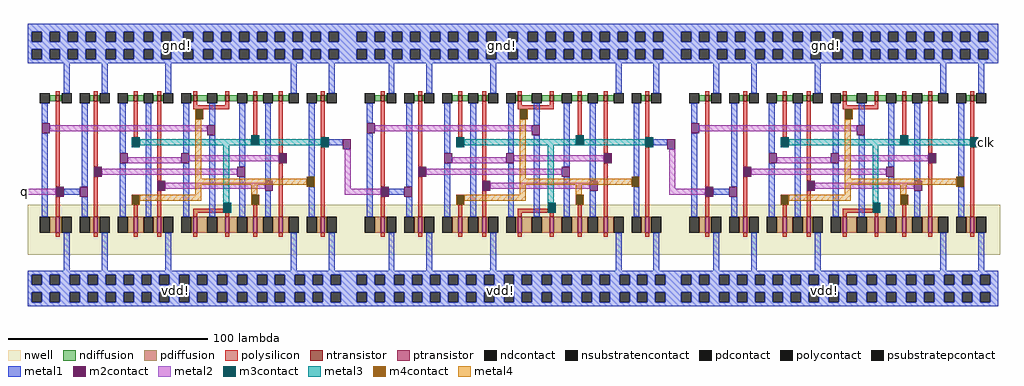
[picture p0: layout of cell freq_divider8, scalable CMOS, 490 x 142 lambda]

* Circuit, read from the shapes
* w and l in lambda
.subckt freq_divider8 clk gnd! q vdd!
M1 gnd! q n1 gnd! nfet w=3 l=2
M2 gnd! n2 q gnd! nfet w=3 l=2
M3 n3 n4 n5 gnd! nfet w=3 l=2
M4 gnd! n6 n3 gnd! nfet w=3 l=2
M5 n1 n7 n5 gnd! nfet w=3 l=2
M6 n2 n7 n1 gnd! nfet w=3 l=2
M7 n6 n4 n2 gnd! nfet w=3 l=2
M8 gnd! n5 n6 gnd! nfet w=3 l=2
M9 gnd! n4 n7 gnd! nfet w=3 l=2
M10 gnd! n4 n8 gnd! nfet w=3 l=2
M11 gnd! n9 n4 gnd! nfet w=3 l=2
M12 n10 n11 n12 gnd! nfet w=3 l=2
M13 gnd! n13 n10 gnd! nfet w=3 l=2
M14 n8 n14 n12 gnd! nfet w=3 l=2
M15 n9 n14 n8 gnd! nfet w=3 l=2
M16 n13 n11 n9 gnd! nfet w=3 l=2
M17 gnd! n12 n13 gnd! nfet w=3 l=2
M18 gnd! n11 n14 gnd! nfet w=3 l=2
M19 gnd! n11 n15 gnd! nfet w=3 l=2
M20 gnd! n16 n11 gnd! nfet w=3 l=2
M21 n17 clk n18 gnd! nfet w=3 l=2
M22 gnd! n19 n17 gnd! nfet w=3 l=2
M23 n15 n20 n18 gnd! nfet w=3 l=2
M24 n16 n20 n15 gnd! nfet w=3 l=2
M25 n19 clk n16 gnd! nfet w=3 l=2
M26 gnd! n18 n19 gnd! nfet w=3 l=2
M27 gnd! clk n20 gnd! nfet w=3 l=2
M28 vdd! q n1 n21 pfet w=8 l=2
M29 vdd! n2 q n21 pfet w=8 l=2
M30 n3 n7 n5 n21 pfet w=8 l=2
M31 vdd! n6 n3 n21 pfet w=8 l=2
M32 n1 n4 n5 n21 pfet w=8 l=2
M33 n2 n4 n1 n21 pfet w=8 l=2
M34 n6 n7 n2 n21 pfet w=8 l=2
M35 vdd! n5 n6 n21 pfet w=8 l=2
M36 vdd! n4 n7 n21 pfet w=8 l=2
M37 vdd! n4 n8 n21 pfet w=8 l=2
M38 vdd! n9 n4 n21 pfet w=8 l=2
M39 n10 n14 n12 n21 pfet w=8 l=2
M40 vdd! n13 n10 n21 pfet w=8 l=2
M41 n8 n11 n12 n21 pfet w=8 l=2
M42 n9 n11 n8 n21 pfet w=8 l=2
M43 n13 n14 n9 n21 pfet w=8 l=2
M44 vdd! n12 n13 n21 pfet w=8 l=2
M45 vdd! n11 n14 n21 pfet w=8 l=2
M46 vdd! n11 n15 n21 pfet w=8 l=2
M47 vdd! n16 n11 n21 pfet w=8 l=2
M48 n17 n20 n18 n21 pfet w=8 l=2
M49 vdd! n19 n17 n21 pfet w=8 l=2
M50 n15 clk n18 n21 pfet w=8 l=2
M51 n16 clk n15 n21 pfet w=8 l=2
M52 n19 n20 n16 n21 pfet w=8 l=2
M53 vdd! n18 n19 n21 pfet w=8 l=2
M54 vdd! clk n20 n21 pfet w=8 l=2
.ends

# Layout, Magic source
magic
tech scmos
<< nwell >>
rect -4 -27 484 -2
<< ntransistor >>
rect 10 50 12 53
rect 29 50 31 53
rect 49 50 51 53
rect 61 50 63 53
rect 79 50 81 53
rect 95 50 97 53
rect 109 50 111 53
rect 122 50 124 53
rect 143 50 145 53
rect 173 50 175 53
rect 192 50 194 53
rect 212 50 214 53
rect 224 50 226 53
rect 242 50 244 53
rect 258 50 260 53
rect 272 50 274 53
rect 285 50 287 53
rect 306 50 308 53
rect 336 50 338 53
rect 355 50 357 53
rect 375 50 377 53
rect 387 50 389 53
rect 405 50 407 53
rect 421 50 423 53
rect 435 50 437 53
rect 448 50 450 53
rect 469 50 471 53
<< ptransistor >>
rect 10 -16 12 -8
rect 29 -16 31 -8
rect 49 -16 51 -8
rect 61 -16 63 -8
rect 79 -16 81 -8
rect 95 -16 97 -8
rect 109 -16 111 -8
rect 122 -16 124 -8
rect 143 -16 145 -8
rect 173 -16 175 -8
rect 192 -16 194 -8
rect 212 -16 214 -8
rect 224 -16 226 -8
rect 242 -16 244 -8
rect 258 -16 260 -8
rect 272 -16 274 -8
rect 285 -16 287 -8
rect 306 -16 308 -8
rect 336 -16 338 -8
rect 355 -16 357 -8
rect 375 -16 377 -8
rect 387 -16 389 -8
rect 405 -16 407 -8
rect 421 -16 423 -8
rect 435 -16 437 -8
rect 448 -16 450 -8
rect 469 -16 471 -8
<< ndiffusion >>
rect 7 50 10 53
rect 12 50 13 53
rect 27 50 29 53
rect 31 50 32 53
rect 46 50 49 53
rect 51 50 54 53
rect 59 50 61 53
rect 63 50 64 53
rect 78 50 79 53
rect 81 50 86 53
rect 91 50 95 53
rect 97 50 101 53
rect 106 50 109 53
rect 111 50 114 53
rect 119 50 122 53
rect 124 50 127 53
rect 141 50 143 53
rect 145 50 146 53
rect 170 50 173 53
rect 175 50 176 53
rect 190 50 192 53
rect 194 50 195 53
rect 209 50 212 53
rect 214 50 217 53
rect 222 50 224 53
rect 226 50 227 53
rect 241 50 242 53
rect 244 50 249 53
rect 254 50 258 53
rect 260 50 264 53
rect 269 50 272 53
rect 274 50 277 53
rect 282 50 285 53
rect 287 50 290 53
rect 304 50 306 53
rect 308 50 309 53
rect 333 50 336 53
rect 338 50 339 53
rect 353 50 355 53
rect 357 50 358 53
rect 372 50 375 53
rect 377 50 380 53
rect 385 50 387 53
rect 389 50 390 53
rect 404 50 405 53
rect 407 50 412 53
rect 417 50 421 53
rect 423 50 427 53
rect 432 50 435 53
rect 437 50 440 53
rect 445 50 448 53
rect 450 50 453 53
rect 467 50 469 53
rect 471 50 472 53
<< pdiffusion >>
rect 7 -16 10 -8
rect 12 -16 13 -8
rect 27 -16 29 -8
rect 31 -16 32 -8
rect 46 -16 49 -8
rect 51 -16 54 -8
rect 59 -16 61 -8
rect 63 -16 64 -8
rect 78 -16 79 -8
rect 81 -16 86 -8
rect 91 -16 95 -8
rect 97 -16 101 -8
rect 106 -16 109 -8
rect 111 -16 114 -8
rect 119 -16 122 -8
rect 124 -16 127 -8
rect 141 -16 143 -8
rect 145 -16 146 -8
rect 170 -16 173 -8
rect 175 -16 176 -8
rect 190 -16 192 -8
rect 194 -16 195 -8
rect 209 -16 212 -8
rect 214 -16 217 -8
rect 222 -16 224 -8
rect 226 -16 227 -8
rect 241 -16 242 -8
rect 244 -16 249 -8
rect 254 -16 258 -8
rect 260 -16 264 -8
rect 269 -16 272 -8
rect 274 -16 277 -8
rect 282 -16 285 -8
rect 287 -16 290 -8
rect 304 -16 306 -8
rect 308 -16 309 -8
rect 333 -16 336 -8
rect 338 -16 339 -8
rect 353 -16 355 -8
rect 357 -16 358 -8
rect 372 -16 375 -8
rect 377 -16 380 -8
rect 385 -16 387 -8
rect 389 -16 390 -8
rect 404 -16 405 -8
rect 407 -16 412 -8
rect 417 -16 421 -8
rect 423 -16 427 -8
rect 432 -16 435 -8
rect 437 -16 440 -8
rect 445 -16 448 -8
rect 450 -16 453 -8
rect 467 -16 469 -8
rect 471 -16 472 -8
<< ndcontact >>
rect 2 49 7 54
rect 13 49 18 54
rect 22 49 27 54
rect 32 49 37 54
rect 41 49 46 54
rect 54 49 59 54
rect 64 49 69 54
rect 73 49 78 54
rect 86 49 91 54
rect 101 49 106 54
rect 114 49 119 54
rect 127 49 132 54
rect 136 49 141 54
rect 146 49 151 54
rect 165 49 170 54
rect 176 49 181 54
rect 185 49 190 54
rect 195 49 200 54
rect 204 49 209 54
rect 217 49 222 54
rect 227 49 232 54
rect 236 49 241 54
rect 249 49 254 54
rect 264 49 269 54
rect 277 49 282 54
rect 290 49 295 54
rect 299 49 304 54
rect 309 49 314 54
rect 328 49 333 54
rect 339 49 344 54
rect 348 49 353 54
rect 358 49 363 54
rect 367 49 372 54
rect 380 49 385 54
rect 390 49 395 54
rect 399 49 404 54
rect 412 49 417 54
rect 427 49 432 54
rect 440 49 445 54
rect 453 49 458 54
rect 462 49 467 54
rect 472 49 477 54
<< pdcontact >>
rect 2 -16 7 -8
rect 13 -16 18 -8
rect 22 -16 27 -8
rect 32 -16 37 -8
rect 41 -16 46 -8
rect 54 -16 59 -8
rect 64 -16 69 -8
rect 73 -16 78 -8
rect 86 -16 91 -8
rect 101 -16 106 -8
rect 114 -16 119 -8
rect 127 -16 132 -8
rect 136 -16 141 -8
rect 146 -16 151 -8
rect 165 -16 170 -8
rect 176 -16 181 -8
rect 185 -16 190 -8
rect 195 -16 200 -8
rect 204 -16 209 -8
rect 217 -16 222 -8
rect 227 -16 232 -8
rect 236 -16 241 -8
rect 249 -16 254 -8
rect 264 -16 269 -8
rect 277 -16 282 -8
rect 290 -16 295 -8
rect 299 -16 304 -8
rect 309 -16 314 -8
rect 328 -16 333 -8
rect 339 -16 344 -8
rect 348 -16 353 -8
rect 358 -16 363 -8
rect 367 -16 372 -8
rect 380 -16 385 -8
rect 390 -16 395 -8
rect 399 -16 404 -8
rect 412 -16 417 -8
rect 427 -16 432 -8
rect 440 -16 445 -8
rect 453 -16 458 -8
rect 462 -16 467 -8
rect 472 -16 477 -8
<< psubstratepcontact >>
rect -2 80 3 85
rect 7 80 12 85
rect 16 80 21 85
rect 25 80 30 85
rect 35 80 40 85
rect 44 80 49 85
rect 54 80 59 85
rect 63 80 68 85
rect 74 80 79 85
rect 84 80 89 85
rect 93 80 98 85
rect 102 80 107 85
rect 111 80 116 85
rect 120 80 125 85
rect 129 80 134 85
rect 138 80 143 85
rect 147 80 152 85
rect 161 80 166 85
rect 170 80 175 85
rect 179 80 184 85
rect 188 80 193 85
rect 198 80 203 85
rect 207 80 212 85
rect 217 80 222 85
rect 226 80 231 85
rect 237 80 242 85
rect 247 80 252 85
rect 256 80 261 85
rect 265 80 270 85
rect 274 80 279 85
rect 283 80 288 85
rect 292 80 297 85
rect 301 80 306 85
rect 310 80 315 85
rect 324 80 329 85
rect 333 80 338 85
rect 342 80 347 85
rect 351 80 356 85
rect 361 80 366 85
rect 370 80 375 85
rect 380 80 385 85
rect 389 80 394 85
rect 400 80 405 85
rect 410 80 415 85
rect 419 80 424 85
rect 428 80 433 85
rect 437 80 442 85
rect 446 80 451 85
rect 455 80 460 85
rect 464 80 469 85
rect 473 80 478 85
rect -2 71 3 76
rect 7 71 12 76
rect 16 71 21 76
rect 25 71 30 76
rect 35 71 40 76
rect 44 71 49 76
rect 54 71 59 76
rect 63 71 68 76
rect 74 71 79 76
rect 84 71 89 76
rect 93 71 98 76
rect 102 71 107 76
rect 111 71 116 76
rect 120 71 125 76
rect 129 71 134 76
rect 138 71 143 76
rect 147 71 152 76
rect 161 71 166 76
rect 170 71 175 76
rect 179 71 184 76
rect 188 71 193 76
rect 198 71 203 76
rect 207 71 212 76
rect 217 71 222 76
rect 226 71 231 76
rect 237 71 242 76
rect 247 71 252 76
rect 256 71 261 76
rect 265 71 270 76
rect 274 71 279 76
rect 283 71 288 76
rect 292 71 297 76
rect 301 71 306 76
rect 310 71 315 76
rect 324 71 329 76
rect 333 71 338 76
rect 342 71 347 76
rect 351 71 356 76
rect 361 71 366 76
rect 370 71 375 76
rect 380 71 385 76
rect 389 71 394 76
rect 400 71 405 76
rect 410 71 415 76
rect 419 71 424 76
rect 428 71 433 76
rect 437 71 442 76
rect 446 71 451 76
rect 455 71 460 76
rect 464 71 469 76
rect 473 71 478 76
<< nsubstratencontact >>
rect -2 -42 3 -37
rect 7 -42 12 -37
rect 17 -42 22 -37
rect 26 -42 31 -37
rect 35 -42 40 -37
rect 44 -42 49 -37
rect 53 -42 58 -37
rect 62 -42 67 -37
rect 72 -42 77 -37
rect 81 -42 86 -37
rect 91 -42 96 -37
rect 101 -42 106 -37
rect 111 -42 116 -37
rect 120 -42 125 -37
rect 130 -42 135 -37
rect 139 -42 144 -37
rect 148 -42 153 -37
rect 161 -42 166 -37
rect 170 -42 175 -37
rect 180 -42 185 -37
rect 189 -42 194 -37
rect 198 -42 203 -37
rect 207 -42 212 -37
rect 216 -42 221 -37
rect 225 -42 230 -37
rect 235 -42 240 -37
rect 244 -42 249 -37
rect 254 -42 259 -37
rect 264 -42 269 -37
rect 274 -42 279 -37
rect 283 -42 288 -37
rect 293 -42 298 -37
rect 302 -42 307 -37
rect 311 -42 316 -37
rect 324 -42 329 -37
rect 333 -42 338 -37
rect 343 -42 348 -37
rect 352 -42 357 -37
rect 361 -42 366 -37
rect 370 -42 375 -37
rect 379 -42 384 -37
rect 388 -42 393 -37
rect 398 -42 403 -37
rect 407 -42 412 -37
rect 417 -42 422 -37
rect 427 -42 432 -37
rect 437 -42 442 -37
rect 446 -42 451 -37
rect 456 -42 461 -37
rect 465 -42 470 -37
rect 474 -42 479 -37
rect -2 -51 3 -46
rect 7 -51 12 -46
rect 17 -51 22 -46
rect 26 -51 31 -46
rect 35 -51 40 -46
rect 44 -51 49 -46
rect 53 -51 58 -46
rect 62 -51 67 -46
rect 72 -51 77 -46
rect 81 -51 86 -46
rect 91 -51 96 -46
rect 101 -51 106 -46
rect 111 -51 116 -46
rect 120 -51 125 -46
rect 130 -51 135 -46
rect 139 -51 144 -46
rect 148 -51 153 -46
rect 161 -51 166 -46
rect 170 -51 175 -46
rect 180 -51 185 -46
rect 189 -51 194 -46
rect 198 -51 203 -46
rect 207 -51 212 -46
rect 216 -51 221 -46
rect 225 -51 230 -46
rect 235 -51 240 -46
rect 244 -51 249 -46
rect 254 -51 259 -46
rect 264 -51 269 -46
rect 274 -51 279 -46
rect 283 -51 288 -46
rect 293 -51 298 -46
rect 302 -51 307 -46
rect 311 -51 316 -46
rect 324 -51 329 -46
rect 333 -51 338 -46
rect 343 -51 348 -46
rect 352 -51 357 -46
rect 361 -51 366 -46
rect 370 -51 375 -46
rect 379 -51 384 -46
rect 388 -51 393 -46
rect 398 -51 403 -46
rect 407 -51 412 -46
rect 417 -51 422 -46
rect 427 -51 432 -46
rect 437 -51 442 -46
rect 446 -51 451 -46
rect 456 -51 461 -46
rect 465 -51 470 -46
rect 474 -51 479 -46
<< polysilicon >>
rect 10 53 12 55
rect 10 7 12 50
rect 29 53 31 55
rect 29 17 31 50
rect 49 53 51 55
rect 49 32 51 50
rect 61 53 63 55
rect 10 -8 12 2
rect 29 -8 31 12
rect 61 10 63 50
rect 79 53 81 55
rect 79 48 81 50
rect 95 53 97 55
rect 95 48 97 50
rect 109 53 111 55
rect 79 46 97 48
rect 109 33 111 50
rect 122 53 124 55
rect 122 24 124 50
rect 143 53 145 55
rect 143 32 145 50
rect 173 53 175 55
rect 49 -8 51 -2
rect 61 -8 63 5
rect 79 -6 94 -4
rect 79 -8 81 -6
rect 95 -8 97 -6
rect 109 -8 111 -2
rect 122 -8 124 19
rect 143 -8 145 27
rect 173 7 175 50
rect 192 53 194 55
rect 192 17 194 50
rect 212 53 214 55
rect 212 32 214 50
rect 224 53 226 55
rect 173 -8 175 2
rect 192 -8 194 12
rect 224 10 226 50
rect 242 53 244 55
rect 242 48 244 50
rect 258 53 260 55
rect 258 48 260 50
rect 272 53 274 55
rect 242 46 260 48
rect 272 33 274 50
rect 285 53 287 55
rect 285 24 287 50
rect 306 53 308 55
rect 306 32 308 50
rect 336 53 338 55
rect 212 -8 214 -2
rect 224 -8 226 5
rect 242 -6 257 -4
rect 242 -8 244 -6
rect 258 -8 260 -6
rect 272 -8 274 -2
rect 285 -8 287 19
rect 306 -8 308 27
rect 336 7 338 50
rect 355 53 357 55
rect 355 17 357 50
rect 375 53 377 55
rect 375 32 377 50
rect 387 53 389 55
rect 336 -8 338 2
rect 355 -8 357 12
rect 387 10 389 50
rect 405 53 407 55
rect 405 48 407 50
rect 421 53 423 55
rect 421 48 423 50
rect 435 53 437 55
rect 405 46 423 48
rect 435 33 437 50
rect 448 53 450 55
rect 448 24 450 50
rect 469 53 471 55
rect 469 32 471 50
rect 375 -8 377 -2
rect 387 -8 389 5
rect 405 -6 420 -4
rect 405 -8 407 -6
rect 421 -8 423 -6
rect 435 -8 437 -2
rect 448 -8 450 19
rect 469 -8 471 27
rect 10 -18 12 -16
rect 29 -18 31 -16
rect 49 -18 51 -16
rect 61 -18 63 -16
rect 79 -18 81 -16
rect 95 -18 97 -16
rect 109 -18 111 -16
rect 122 -18 124 -16
rect 143 -18 145 -16
rect 173 -18 175 -16
rect 192 -18 194 -16
rect 212 -18 214 -16
rect 224 -18 226 -16
rect 242 -18 244 -16
rect 258 -18 260 -16
rect 272 -18 274 -16
rect 285 -18 287 -16
rect 306 -18 308 -16
rect 336 -18 338 -16
rect 355 -18 357 -16
rect 375 -18 377 -16
rect 387 -18 389 -16
rect 405 -18 407 -16
rect 421 -18 423 -16
rect 435 -18 437 -16
rect 448 -18 450 -16
rect 469 -18 471 -16
<< polycontact >>
rect 48 27 52 32
rect 29 12 33 17
rect 10 2 14 7
rect 80 41 84 46
rect 108 28 112 33
rect 143 27 147 32
rect 122 19 126 24
rect 61 5 65 10
rect 48 -2 52 3
rect 94 -6 98 -1
rect 108 -2 112 3
rect 211 27 215 32
rect 192 12 196 17
rect 173 2 177 7
rect 243 41 247 46
rect 271 28 275 33
rect 306 27 310 32
rect 285 19 289 24
rect 224 5 228 10
rect 211 -2 215 3
rect 257 -6 261 -1
rect 271 -2 275 3
rect 374 27 378 32
rect 355 12 359 17
rect 336 2 340 7
rect 406 41 410 46
rect 434 28 438 33
rect 469 27 473 32
rect 448 19 452 24
rect 387 5 391 10
rect 374 -2 378 3
rect 420 -6 424 -1
rect 434 -2 438 3
<< metal1 >>
rect -4 85 483 89
rect -4 80 -2 85
rect 3 80 7 85
rect 12 80 16 85
rect 21 80 25 85
rect 30 80 35 85
rect 40 80 44 85
rect 49 80 54 85
rect 59 80 63 85
rect 68 80 74 85
rect 79 80 84 85
rect 89 80 93 85
rect 98 80 102 85
rect 107 80 111 85
rect 116 80 120 85
rect 125 80 129 85
rect 134 80 138 85
rect 143 80 147 85
rect 152 80 161 85
rect 166 80 170 85
rect 175 80 179 85
rect 184 80 188 85
rect 193 80 198 85
rect 203 80 207 85
rect 212 80 217 85
rect 222 80 226 85
rect 231 80 237 85
rect 242 80 247 85
rect 252 80 256 85
rect 261 80 265 85
rect 270 80 274 85
rect 279 80 283 85
rect 288 80 292 85
rect 297 80 301 85
rect 306 80 310 85
rect 315 80 324 85
rect 329 80 333 85
rect 338 80 342 85
rect 347 80 351 85
rect 356 80 361 85
rect 366 80 370 85
rect 375 80 380 85
rect 385 80 389 85
rect 394 80 400 85
rect 405 80 410 85
rect 415 80 419 85
rect 424 80 428 85
rect 433 80 437 85
rect 442 80 446 85
rect 451 80 455 85
rect 460 80 464 85
rect 469 80 473 85
rect 478 80 483 85
rect -4 76 483 80
rect -4 71 -2 76
rect 3 71 7 76
rect 12 71 16 76
rect 21 71 25 76
rect 30 71 35 76
rect 40 71 44 76
rect 49 71 54 76
rect 59 71 63 76
rect 68 71 74 76
rect 79 71 84 76
rect 89 71 93 76
rect 98 71 102 76
rect 107 71 111 76
rect 116 71 120 76
rect 125 71 129 76
rect 134 71 138 76
rect 143 71 147 76
rect 152 71 161 76
rect 166 71 170 76
rect 175 71 179 76
rect 184 71 188 76
rect 193 71 198 76
rect 203 71 207 76
rect 212 71 217 76
rect 222 71 226 76
rect 231 71 237 76
rect 242 71 247 76
rect 252 71 256 76
rect 261 71 265 76
rect 270 71 274 76
rect 279 71 283 76
rect 288 71 292 76
rect 297 71 301 76
rect 306 71 310 76
rect 315 71 324 76
rect 329 71 333 76
rect 338 71 342 76
rect 347 71 351 76
rect 356 71 361 76
rect 366 71 370 76
rect 375 71 380 76
rect 385 71 389 76
rect 394 71 400 76
rect 405 71 410 76
rect 415 71 419 76
rect 424 71 428 76
rect 433 71 437 76
rect 442 71 446 76
rect 451 71 455 76
rect 460 71 464 76
rect 469 71 473 76
rect 478 71 483 76
rect -4 69 483 71
rect 14 54 17 69
rect 33 54 36 69
rect 65 54 68 69
rect 128 54 131 69
rect 147 54 150 69
rect 177 54 180 69
rect 196 54 199 69
rect 228 54 231 69
rect 291 54 294 69
rect 310 54 313 69
rect 340 54 343 69
rect 359 54 362 69
rect 391 54 394 69
rect 454 54 457 69
rect 473 54 476 69
rect 3 39 6 49
rect 3 -8 6 34
rect 23 7 26 49
rect 42 24 45 49
rect 14 3 22 6
rect 23 -8 26 2
rect 42 -8 45 19
rect 55 -8 58 49
rect 74 24 77 49
rect 87 38 90 49
rect 74 -8 77 19
rect 87 -8 90 33
rect 102 17 105 49
rect 102 -8 105 12
rect 115 10 118 49
rect 137 12 140 49
rect 166 39 169 49
rect 147 28 154 31
rect 115 -8 118 5
rect 137 -8 140 7
rect 166 -8 169 34
rect 186 7 189 49
rect 205 24 208 49
rect 177 3 185 6
rect 186 -8 189 2
rect 205 -8 208 19
rect 218 -8 221 49
rect 237 24 240 49
rect 250 38 253 49
rect 237 -8 240 19
rect 250 -8 253 33
rect 265 17 268 49
rect 265 -8 268 12
rect 278 10 281 49
rect 300 12 303 49
rect 329 39 332 49
rect 310 28 317 31
rect 278 -8 281 5
rect 300 -8 303 7
rect 329 -8 332 34
rect 349 7 352 49
rect 368 24 371 49
rect 340 3 348 6
rect 349 -8 352 2
rect 368 -8 371 19
rect 381 -8 384 49
rect 400 24 403 49
rect 413 38 416 49
rect 400 -8 403 19
rect 413 -8 416 33
rect 428 17 431 49
rect 428 -8 431 12
rect 441 10 444 49
rect 463 12 466 49
rect 473 28 477 31
rect 441 -8 444 5
rect 463 -8 466 7
rect 14 -35 17 -16
rect 33 -35 36 -16
rect 65 -35 68 -16
rect 128 -35 131 -16
rect 147 -35 150 -16
rect 177 -35 180 -16
rect 196 -35 199 -16
rect 228 -35 231 -16
rect 291 -35 294 -16
rect 310 -35 313 -16
rect 340 -35 343 -16
rect 359 -35 362 -16
rect 391 -35 394 -16
rect 454 -35 457 -16
rect 473 -35 476 -16
rect -4 -37 483 -35
rect -4 -42 -2 -37
rect 3 -42 7 -37
rect 12 -42 17 -37
rect 22 -42 26 -37
rect 31 -42 35 -37
rect 40 -42 44 -37
rect 49 -42 53 -37
rect 58 -42 62 -37
rect 67 -42 72 -37
rect 77 -42 81 -37
rect 86 -42 91 -37
rect 96 -42 101 -37
rect 106 -42 111 -37
rect 116 -42 120 -37
rect 125 -42 130 -37
rect 135 -42 139 -37
rect 144 -42 148 -37
rect 153 -42 161 -37
rect 166 -42 170 -37
rect 175 -42 180 -37
rect 185 -42 189 -37
rect 194 -42 198 -37
rect 203 -42 207 -37
rect 212 -42 216 -37
rect 221 -42 225 -37
rect 230 -42 235 -37
rect 240 -42 244 -37
rect 249 -42 254 -37
rect 259 -42 264 -37
rect 269 -42 274 -37
rect 279 -42 283 -37
rect 288 -42 293 -37
rect 298 -42 302 -37
rect 307 -42 311 -37
rect 316 -42 324 -37
rect 329 -42 333 -37
rect 338 -42 343 -37
rect 348 -42 352 -37
rect 357 -42 361 -37
rect 366 -42 370 -37
rect 375 -42 379 -37
rect 384 -42 388 -37
rect 393 -42 398 -37
rect 403 -42 407 -37
rect 412 -42 417 -37
rect 422 -42 427 -37
rect 432 -42 437 -37
rect 442 -42 446 -37
rect 451 -42 456 -37
rect 461 -42 465 -37
rect 470 -42 474 -37
rect 479 -42 483 -37
rect -4 -46 483 -42
rect -4 -51 -2 -46
rect 3 -51 7 -46
rect 12 -51 17 -46
rect 22 -51 26 -46
rect 31 -51 35 -46
rect 40 -51 44 -46
rect 49 -51 53 -46
rect 58 -51 62 -46
rect 67 -51 72 -46
rect 77 -51 81 -46
rect 86 -51 91 -46
rect 96 -51 101 -46
rect 106 -51 111 -46
rect 116 -51 120 -46
rect 125 -51 130 -46
rect 135 -51 139 -46
rect 144 -51 148 -46
rect 153 -51 161 -46
rect 166 -51 170 -46
rect 175 -51 180 -46
rect 185 -51 189 -46
rect 194 -51 198 -46
rect 203 -51 207 -46
rect 212 -51 216 -46
rect 221 -51 225 -46
rect 230 -51 235 -46
rect 240 -51 244 -46
rect 249 -51 254 -46
rect 259 -51 264 -46
rect 269 -51 274 -46
rect 279 -51 283 -46
rect 288 -51 293 -46
rect 298 -51 302 -46
rect 307 -51 311 -46
rect 316 -51 324 -46
rect 329 -51 333 -46
rect 338 -51 343 -46
rect 348 -51 352 -46
rect 357 -51 361 -46
rect 366 -51 370 -46
rect 375 -51 379 -46
rect 384 -51 388 -46
rect 393 -51 398 -46
rect 403 -51 407 -46
rect 412 -51 417 -46
rect 422 -51 427 -46
rect 432 -51 437 -46
rect 442 -51 446 -46
rect 451 -51 456 -46
rect 461 -51 465 -46
rect 470 -51 474 -46
rect 479 -51 483 -46
rect -4 -53 483 -51
<< m2contact >>
rect 3 34 7 39
rect 48 27 52 32
rect 42 19 46 24
rect 29 12 33 17
rect 10 2 14 7
rect 22 2 26 7
rect 48 -2 52 3
rect 80 41 84 46
rect 86 33 90 38
rect 73 19 77 24
rect 61 5 65 10
rect 108 28 112 33
rect 101 12 105 17
rect 94 -6 98 -1
rect 122 19 126 24
rect 166 34 170 39
rect 143 27 147 32
rect 154 26 158 31
rect 115 5 119 10
rect 136 7 140 12
rect 108 -2 112 3
rect 211 27 215 32
rect 205 19 209 24
rect 192 12 196 17
rect 173 2 177 7
rect 185 2 189 7
rect 211 -2 215 3
rect 243 41 247 46
rect 249 33 253 38
rect 236 19 240 24
rect 224 5 228 10
rect 271 28 275 33
rect 264 12 268 17
rect 257 -6 261 -1
rect 285 19 289 24
rect 329 34 333 39
rect 306 27 310 32
rect 317 26 321 31
rect 278 5 282 10
rect 299 7 303 12
rect 271 -2 275 3
rect 374 27 378 32
rect 368 19 372 24
rect 355 12 359 17
rect 336 2 340 7
rect 348 2 352 7
rect 374 -2 378 3
rect 406 41 410 46
rect 412 33 416 38
rect 399 19 403 24
rect 387 5 391 10
rect 434 28 438 33
rect 427 12 431 17
rect 420 -6 424 -1
rect 448 19 452 24
rect 469 27 473 32
rect 441 5 445 10
rect 462 7 466 12
rect 434 -2 438 3
<< metal2 >>
rect 7 35 86 38
rect 170 35 249 38
rect 333 35 412 38
rect 46 19 73 22
rect 77 20 122 23
rect 33 13 101 16
rect -6 3 10 6
rect 65 6 115 9
rect 155 6 158 26
rect 209 19 236 22
rect 240 20 285 23
rect 196 13 264 16
rect 155 3 173 6
rect 228 6 278 9
rect 318 6 321 26
rect 372 19 399 22
rect 403 20 448 23
rect 359 13 427 16
rect 318 3 336 6
rect 391 6 441 9
<< m3contact >>
rect 80 41 84 46
rect 243 41 247 46
rect 406 41 410 46
rect 48 27 52 32
rect 108 28 112 33
rect 143 27 147 32
rect 211 27 215 32
rect 271 28 275 33
rect 306 27 310 32
rect 374 27 378 32
rect 434 28 438 33
rect 469 27 473 32
rect 136 7 140 12
rect 48 -2 52 3
rect 94 -6 98 -1
rect 108 -2 112 3
rect 299 7 303 12
rect 211 -2 215 3
rect 257 -6 261 -1
rect 271 -2 275 3
rect 462 7 466 12
rect 374 -2 378 3
rect 420 -6 424 -1
rect 434 -2 438 3
<< metal3 >>
rect 52 28 108 31
rect 112 28 143 31
rect 94 -1 97 28
rect 215 28 271 31
rect 275 28 306 31
rect 257 -1 260 28
rect 378 28 434 31
rect 438 28 469 31
rect 420 -1 423 28
<< m4contact >>
rect 80 41 84 46
rect 243 41 247 46
rect 406 41 410 46
rect 48 -2 52 3
rect 136 7 140 12
rect 108 -2 112 3
rect 211 -2 215 3
rect 299 7 303 12
rect 271 -2 275 3
rect 374 -2 378 3
rect 462 7 466 12
rect 434 -2 438 3
<< metal4 >>
rect 80 11 83 41
rect 80 8 136 11
rect 80 3 83 8
rect 52 0 83 3
rect 108 3 111 8
rect 243 11 246 41
rect 243 8 299 11
rect 243 3 246 8
rect 215 0 246 3
rect 271 3 274 8
rect 406 11 409 41
rect 406 8 462 11
rect 406 3 409 8
rect 378 0 409 3
rect 434 3 437 8
<< labels >>
rlabel metal1 71 78 71 78 1 gnd!
rlabel metal2 -6 3 -6 6 3 q
rlabel metal1 234 78 234 78 1 gnd!
rlabel metal1 477 28 477 31 1 clk
rlabel metal1 397 78 397 78 1 gnd!
rlabel metal1 396 -45 396 -45 1 vdd!
rlabel metal1 233 -45 233 -45 1 vdd!
rlabel metal1 70 -45 70 -45 1 vdd!
<< end >>
